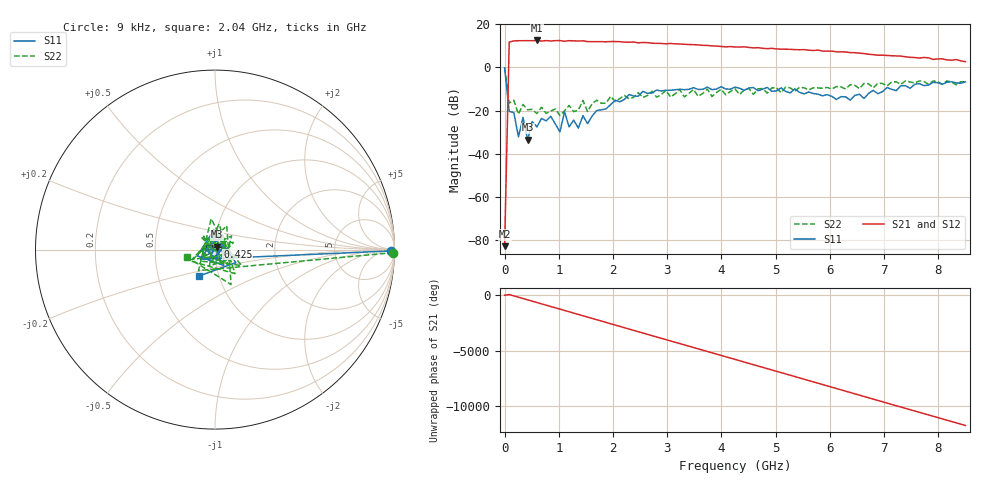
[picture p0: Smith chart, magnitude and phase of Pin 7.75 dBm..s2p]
! RsaToolbox (C) 2013 Rohde & Schwarz America
! Number of points: 101
! Number of ports: 2
! Balanced ports?: 0
# Hz S RI R 50
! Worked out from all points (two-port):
!   101 points, 9 kHz to 8.5 GHz, reference 50 ohm
!   highest |S21| = 12.52 dB at 595 MHz (marker M1); lowest = -82.9 dB at 9 kHz (marker M2)
!   |S21| within 3 dB of the highest: 82.98 MHz to 4.241 GHz (4.158 GHz wide, 192 % of centre); 4.386 GHz to 4.429 GHz (43.01 MHz wide, 0.976 % of centre)
!   lowest |S11| = -33.5 dB at 425 MHz (marker M3), VSWR 1.04, Z = 51.3 + j1.71 ohm
!   |S11| at or under -10 dB: 41.36 MHz to 3.416 GHz (3.374 GHz wide, 195 % of centre); 3.549 GHz to 3.666 GHz (117.4 MHz wide, 3.26 % of centre); 5.359 GHz to 7.025 GHz (1.666 GHz wide, 26.9 % of centre) (the widest 3 of 10)
!   |S22| runs from -22.3 to -0.1 dB; largest |S21 - S12| = 0
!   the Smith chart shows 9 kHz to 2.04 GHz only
!   S11 on the Smith chart (normalised r, x): 9 kHz: 88, -33; 425 MHz: 1.03, +0.03; 2.04 GHz: 0.80, -0.24
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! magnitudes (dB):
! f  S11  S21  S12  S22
! 9 kHz  -0.2  -82.9  -82.9  -0.1
! 85.01 MHz  -20.4  11.8  11.8  -16.5
! 170 MHz  -20.9  12.3  12.3  -15.2
! 255 MHz  -32.2  12.4  12.4  -21.7
! 340 MHz  -23.2  12.4  12.4  -17.2
! 425 MHz  -33.5  12.4  12.4  -19.6
! 510 MHz  -25.1  12.4  12.4  -19.4
! 595 MHz  -27.6  12.5  12.5  -21.4
! 850 MHz  -22.6  12.3  12.3  -20.2
! 1.02 GHz  -29.9  12.5  12.5  -22.3
! 1.105 GHz  -20.6  12.1  12.1  -20.1
! 1.19 GHz  -27.5  12.4  12.4  -17.6
! 1.36 GHz  -28.1  12.2  12.2  -19.8
! 1.445 GHz  -22.3  12.4  12.4  -15.3
! 1.53 GHz  -26.1  12.0  12.0  -20.4
! 2.04 GHz  -15.2  12.0  12.0  -15.8
! 2.89 GHz  -10.9  11.1  11.1  -12.6
! 4.25 GHz  -9.1  9.5  9.5  -9.9
! 5.695 GHz  -12.1  7.9  7.9  -9.4
! 6.375 GHz  -15.2  6.9  6.9  -8.0
! 7.14 GHz  -10.1  5.4  5.4  -6.7
! 8.5 GHz  -6.7  2.7  2.7  -6.7
